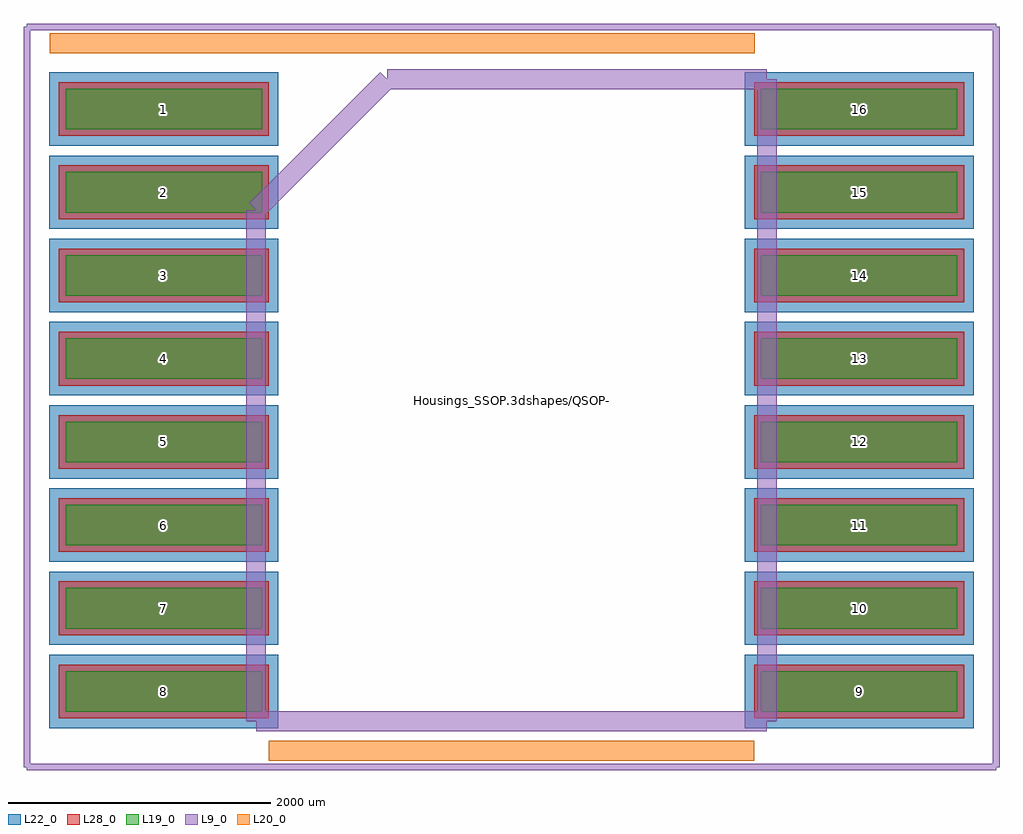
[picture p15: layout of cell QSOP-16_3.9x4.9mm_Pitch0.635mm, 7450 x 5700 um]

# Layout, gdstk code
import gdstk
lib = gdstk.Library(unit=1e-6, precision=1e-09)
def R(c, l, rs):  # rectangles x0, y0, x1, y1
    for r in rs: c.add(gdstk.rectangle(r[:2], r[2:], *l))
def A(c, l, x, y, w, h, nx, ny, dx, dy):  # array of equal rectangles
    R(c, l, [(x+i*dx, y+j*dy, x+i*dx+w, y+j*dy+h) for i in range(nx) for j in range(ny)])
L9_0 = (9, 0)
L19_0 = (19, 0)
L20_0 = (20, 0)
L22_0 = (22, 0)
L28_0 = (28, 0)

qsop_16_3_9x4_9mm_pitch0 = lib.new_cell('QSOP-16_3.9x4.9mm_Pitch0.635mm')
A(qsop_16_3_9x4_9mm_pitch0, L19_0, -3404.3, -2377.5, 1500, 310, 1, 8, 0, 635)
A(qsop_16_3_9x4_9mm_pitch0, L19_0, 1904.3, -2377.5, 1500, 310, 1, 8, 0, 635)
A(qsop_16_3_9x4_9mm_pitch0, L22_0, -3529.3, -2502.5, 1750, 560, 1, 8, 0, 635)
A(qsop_16_3_9x4_9mm_pitch0, L22_0, 1779.3, -2502.5, 1750, 560, 1, 8, 0, 635)
A(qsop_16_3_9x4_9mm_pitch0, L28_0, -3454.3, -2427.5, 1600, 410, 1, 8, 0, 635)
A(qsop_16_3_9x4_9mm_pitch0, L28_0, 1854.3, -2427.5, 1600, 410, 1, 8, 0, 635)
qsop_16_3_9x4_9mm_pitch0.add(gdstk.FlexPath([(-3525,2725),(1858.6,2725)], 149.998, ends="flush", simple_path=True, layer=20, datatype=0))  # L20_0
qsop_16_3_9x4_9mm_pitch0.add(gdstk.FlexPath([(-1854.3,-2675),(1854.3,-2675)], 149.998, ends="flush", simple_path=True, layer=20, datatype=0))  # L20_0
qsop_16_3_9x4_9mm_pitch0.add(gdstk.FlexPath([(-3700,-2800),(3700,-2800)], 50, ends="flush", simple_path=True, layer=9, datatype=0))  # L9_0
qsop_16_3_9x4_9mm_pitch0.add(gdstk.FlexPath([(-3700,2850),(3700,2850)], 50, ends="flush", simple_path=True, layer=9, datatype=0))  # L9_0
qsop_16_3_9x4_9mm_pitch0.add(gdstk.FlexPath([(3700,2850),(3700,-2800)], 50, ends="flush", simple_path=True, layer=9, datatype=0))  # L9_0
qsop_16_3_9x4_9mm_pitch0.add(gdstk.FlexPath([(-3700,2850),(-3700,-2800)], 50, ends="flush", simple_path=True, layer=9, datatype=0))  # L9_0
qsop_16_3_9x4_9mm_pitch0.add(gdstk.FlexPath([(-1950,1450),(-950,2450)], 149.998, ends="flush", simple_path=True, layer=9, datatype=0))  # L9_0
qsop_16_3_9x4_9mm_pitch0.add(gdstk.FlexPath([(-1950,-2450),(-1950,1450)], 149.998, ends="flush", simple_path=True, layer=9, datatype=0))  # L9_0
qsop_16_3_9x4_9mm_pitch0.add(gdstk.FlexPath([(1950,-2450),(-1950,-2450)], 149.998, ends="flush", simple_path=True, layer=9, datatype=0))  # L9_0
qsop_16_3_9x4_9mm_pitch0.add(gdstk.FlexPath([(1950,2450),(1950,-2450)], 149.998, ends="flush", simple_path=True, layer=9, datatype=0))  # L9_0
qsop_16_3_9x4_9mm_pitch0.add(gdstk.FlexPath([(-950,2450),(1950,2450)], 149.998, ends="flush", simple_path=True, layer=9, datatype=0))  # L9_0
qsop_16_3_9x4_9mm_pitch0.add(gdstk.Label('Housings_SSOP.3dshapes/QSOP-16_3.9x4.9mm_Pitch0.635mm.wrl', (0,0), layer=12, texttype=0))
qsop_16_3_9x4_9mm_pitch0.add(gdstk.Label('16', (2654.3,2222.5), layer=28, texttype=0))
qsop_16_3_9x4_9mm_pitch0.add(gdstk.Label('15', (2654.3,1587.5), layer=28, texttype=0))
qsop_16_3_9x4_9mm_pitch0.add(gdstk.Label('14', (2654.3,952.5), layer=28, texttype=0))
qsop_16_3_9x4_9mm_pitch0.add(gdstk.Label('13', (2654.3,317.5), layer=28, texttype=0))
qsop_16_3_9x4_9mm_pitch0.add(gdstk.Label('12', (2654.3,-317.5), layer=28, texttype=0))
qsop_16_3_9x4_9mm_pitch0.add(gdstk.Label('11', (2654.3,-952.5), layer=28, texttype=0))
qsop_16_3_9x4_9mm_pitch0.add(gdstk.Label('10', (2654.3,-1587.5), layer=28, texttype=0))
qsop_16_3_9x4_9mm_pitch0.add(gdstk.Label('9', (2654.3,-2222.5), layer=28, texttype=0))
qsop_16_3_9x4_9mm_pitch0.add(gdstk.Label('8', (-2654.3,-2222.5), layer=28, texttype=0))
qsop_16_3_9x4_9mm_pitch0.add(gdstk.Label('7', (-2654.3,-1587.5), layer=28, texttype=0))
qsop_16_3_9x4_9mm_pitch0.add(gdstk.Label('6', (-2654.3,-952.5), layer=28, texttype=0))
qsop_16_3_9x4_9mm_pitch0.add(gdstk.Label('5', (-2654.3,-317.5), layer=28, texttype=0))
qsop_16_3_9x4_9mm_pitch0.add(gdstk.Label('4', (-2654.3,317.5), layer=28, texttype=0))
qsop_16_3_9x4_9mm_pitch0.add(gdstk.Label('3', (-2654.3,952.5), layer=28, texttype=0))
qsop_16_3_9x4_9mm_pitch0.add(gdstk.Label('2', (-2654.3,1587.5), layer=28, texttype=0))
qsop_16_3_9x4_9mm_pitch0.add(gdstk.Label('1', (-2654.3,2222.5), layer=28, texttype=0))
qsop_16_3_9x4_9mm_pitch0.add(gdstk.Label('type', (0,-3500), layer=9, texttype=0))
qsop_16_3_9x4_9mm_pitch0.add(gdstk.Label('devicename', (0,3500), layer=9, texttype=0))

lib.write_gds('QSOP-16_3.9x4.9mm_Pitch0.635mm.gds')
